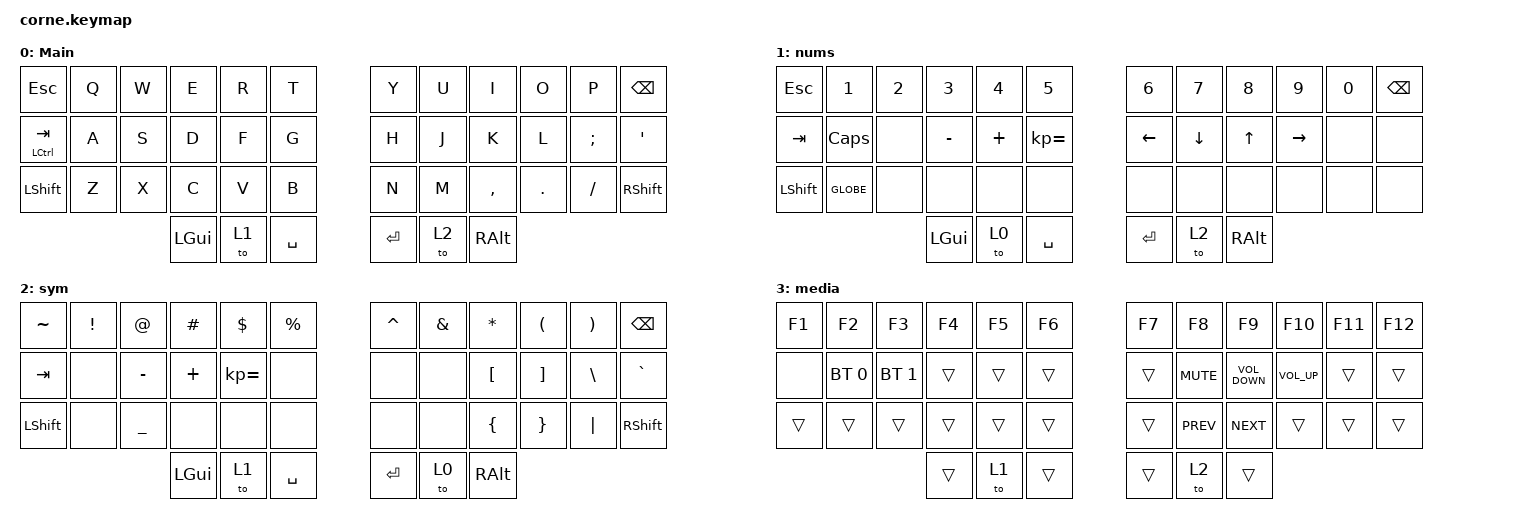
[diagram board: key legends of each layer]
/*
 * Copyright (c) 2020 The ZMK Contributors
 *
 * SPDX-License-Identifier: MIT
 */

#include <behaviors.dtsi>
#include <dt-bindings/zmk/bt.h>
#include <dt-bindings/zmk/keys.h>

/ {
    combos {
        compatible = "zmk,combos";

        l3_toggle {
            bindings = <&tog 3>;
            key-positions = <37 40>;
        };

        ble_reset {
            bindings = <&bt BT_CLR_ALL>;
            key-positions = <4 5 14>;
            require-prior-idle-ms = <1>;
            layers = <3>;
        };

        caps {
            bindings = <&kp CAPS>;
            key-positions = <24 27>;
            timeout-ms = <300>;
            layers = <0>;
        };
    };

    keymap {
        compatible = "zmk,keymap";

        main {
            // -----------------------------------------------------------------------------------------
            // |  TAB |  Q  |  W  |  E  |  R  |  T  |   |  Y  |  U   |  I  |  O  |  P  | BKSP |
            // | CTRL |  A  |  S  |  D  |  F  |  G  |   |  H  |  J   |  K  |  L  |  ;  |  '   |
            // | SHFT |  Z  |  X  |  C  |  V  |  B  |   |  N  |  M   |  ,  |  .  |  /  | ESC  |
            //                    | GUI | LWR | SPC |   | ENT | RSE  | ALT |

            bindings = <
&kp ESCAPE            &kp Q  &kp W  &kp E     &kp R  &kp T        &kp Y    &kp U  &kp I      &kp O    &kp P     &kp BSPC
&mt LEFT_CONTROL TAB  &kp A  &kp S  &kp D     &kp F  &kp G        &kp H    &kp J  &kp K      &kp L    &kp SEMI  &kp SQT
&kp LEFT_SHIFT        &kp Z  &kp X  &kp C     &kp V  &kp B        &kp N    &kp M  &kp COMMA  &kp DOT  &kp FSLH  &kp RIGHT_SHIFT
                                    &kp LGUI  &to 1  &kp SPACE    &kp RET  &to 2  &kp RALT
            >;

            label = "Main";
        };

        nums {
            // -----------------------------------------------------------------------------------------
            // |  TAB |  1  |  2  |  3  |  4  |  5  |   |  6  |  7  |  8  |  9  |  0  | BKSP |
            // | BTCLR| BT1 | BT2 | BT3 | BT4 | BT5 |   | LFT | DWN |  UP | RGT |     |      |
            // | SHFT |     |     |     |     |     |   |     |     |     |     |     |      |
            //                    | GUI |     | SPC |   | ENT |     | ALT |

            bindings = <
&kp ESC    &kp N1     &kp N2  &kp N3     &kp N4    &kp N5          &kp N6          &kp N7          &kp N8        &kp N9           &kp N0  &kp BSPC
&kp TAB    &kp CAPS   &none   &kp MINUS  &kp PLUS  &kp KP_EQUAL    &kp LEFT_ARROW  &kp DOWN_ARROW  &kp UP_ARROW  &kp RIGHT_ARROW  &none   &none
&kp LSHFT  &kp GLOBE  &none   &none      &none     &none           &none           &none           &none         &none            &none   &none
                              &kp LGUI   &to 0     &kp SPACE       &kp RET         &to 2           &kp RALT
            >;

            label = "nums";
        };

        symobols {
            // -----------------------------------------------------------------------------------------
            // |  TAB |  !  |  @  |  #  |  $  |  %  |   |  ^  |  &  |  *  |  (  |  )  | BKSP |
            // | CTRL |     |     |     |     |     |   |  -  |  =  |  [  |  ]  |  \  |  `   |
            // | SHFT |     |     |     |     |     |   |  _  |  +  |  {  |  }  | "|" |  ~   |
            //                    | GUI |     | SPC |   | ENT |     | ALT |

            bindings = <
&kp TILDE  &kp EXCL  &kp AT     &kp HASH  &kp DLLR      &kp PRCNT    &kp CARET  &kp AMPS  &kp ASTRK  &kp LPAR  &kp RPAR  &kp BSPC
&kp TAB    &none     &kp MINUS  &kp PLUS  &kp KP_EQUAL  &none        &none      &none     &kp LBKT   &kp RBKT  &kp BSLH  &kp GRAVE
&kp LSHFT  &none     &kp UNDER  &none     &none         &none        &none      &none     &kp LBRC   &kp RBRC  &kp PIPE  &kp RIGHT_SHIFT
                                &kp LGUI  &to 1         &kp SPACE    &kp RET    &to 0     &kp RALT
            >;

            label = "sym";
        };

        media_control {
            bindings = <
&kp F1  &kp F2        &kp F3        &kp F4  &kp F5  &kp F6    &kp F7  &kp F8      &kp F9             &kp F10       &kp F11  &kp F12
&none   &bt BT_SEL 0  &bt BT_SEL 1  &trans  &trans  &trans    &trans  &kp K_MUTE  &kp C_VOLUME_DOWN  &kp C_VOL_UP  &trans   &trans
&trans  &trans        &trans        &trans  &trans  &trans    &trans  &kp K_PREV  &kp K_NEXT         &trans        &trans   &trans
                                    &trans  &to 1   &trans    &trans  &to 2       &trans
            >;

            label = "media";
        };
    };
};
